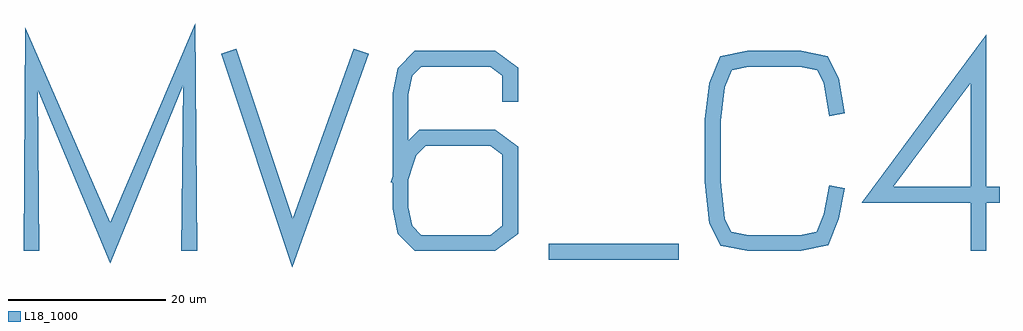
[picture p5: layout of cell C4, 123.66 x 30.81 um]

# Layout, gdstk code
import gdstk
lib = gdstk.Library(unit=1e-6, precision=1e-09)
L18_1000 = (18, 1000)

c_c4 = lib.new_cell('C4')
c_c4.add(gdstk.FlexPath([(-480.012,-306.995),(-480.012,-283.662),(-470.012,-306.995),(-460.012,-283.107),(-460.012,-306.995)], 2, ends="extended", simple_path=True, layer=18, datatype=1000))  # L18_1000
c_c4.add(gdstk.FlexPath([(-454.679,-283.662),(-446.902,-306.995),(-438.568,-283.662)], 2, ends="extended", simple_path=True, layer=18, datatype=1000))  # L18_1000
c_c4.add(gdstk.FlexPath([(-419.347,-288.107),(-419.347,-285.329),(-421.569,-283.662),(-431.013,-283.662),(-432.68,-285.329),(-433.235,-288.107),(-433.235,-302.551),(-432.68,-305.329),(-431.013,-306.995),(-421.569,-306.995),(-419.347,-305.329),(-419.347,-295.329),(-421.569,-293.662),(-430.458,-293.662),(-432.124,-295.329),(-433.235,-298.662)], 2, ends="extended", simple_path=True, layer=18, datatype=1000))  # L18_1000
c_c4.add(gdstk.FlexPath([(-413.458,-308.106),(-399.014,-308.106)], 2, ends="extended", simple_path=True, layer=18, datatype=1000))  # L18_1000
c_c4.add(gdstk.FlexPath([(-378.126,-289.773),(-378.681,-286.44),(-379.793,-284.218),(-382.57,-283.662),(-389.237,-283.662),(-392.015,-284.218),(-393.126,-286.995),(-393.681,-291.44),(-393.681,-299.218),(-393.126,-304.218),(-392.015,-306.44),(-389.237,-306.995),(-382.57,-306.995),(-379.793,-306.44),(-378.681,-303.662),(-378.126,-300.884)], 2, ends="extended", simple_path=True, layer=18, datatype=1000))  # L18_1000
c_c4.add(gdstk.FlexPath([(-358.349,-300.884),(-372.793,-300.884),(-360.016,-283.662),(-360.016,-306.995)], 2, ends="extended", simple_path=True, layer=18, datatype=1000))  # L18_1000

lib.write_gds('C4.gds')
